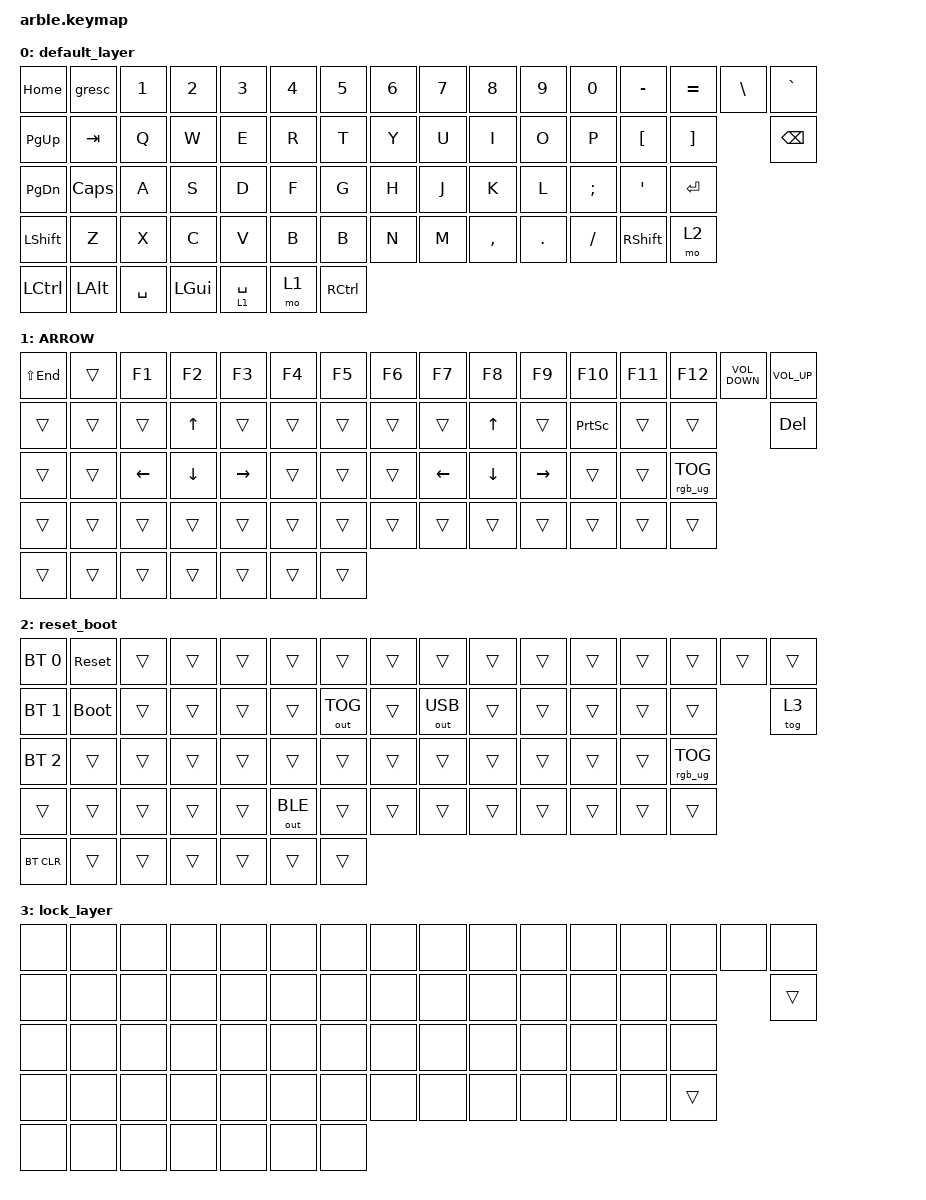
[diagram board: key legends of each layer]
/*
 * Copyright (c) 2021 Nick Winans
 *
 * SPDX-License-Identifier: MIT
 */

#include <behaviors.dtsi>
#include <dt-bindings/zmk/bt.h>
#include <dt-bindings/zmk/keys.h>
#include <dt-bindings/zmk/outputs.h>
#include <dt-bindings/zmk/rgb.h>

/ {
    keymap {
        compatible = "zmk,keymap";

        default_layer {
            bindings = <
        &kp HOME        &gresc     &kp N1        &kp N2       &kp N3  &kp N4     &kp N5  &kp N6  &kp N7     &kp N8   &kp N9    &kp N0  &kp MINUS  &kp EQUAL  &kp BSLH  &kp GRAVE
     &kp PAGE_UP       &kp TAB      &kp Q         &kp W        &kp E   &kp R      &kp T   &kp Y   &kp U      &kp I    &kp O     &kp P   &kp LBKT   &kp RBKT  &kp BSPC
       &kp PG_DN      &kp CAPS      &kp A         &kp S        &kp D   &kp F      &kp G   &kp H   &kp J      &kp K    &kp L  &kp SEMI    &kp SQT    &kp RET
       &kp LSHFT         &kp Z      &kp X         &kp C        &kp V   &kp B      &kp B   &kp N   &kp M  &kp COMMA  &kp DOT  &kp FSLH  &kp RSHFT      &mo 2
&kp LEFT_CONTROL  &kp LEFT_ALT  &kp SPACE  &kp LEFT_GUI  &lt 1 SPACE   &mo 1  &kp RCTRL
            >;
        };

        ARROW {
            bindings = <
&kp LS(END)  &trans    &kp F1    &kp F2     &kp F3  &kp F4  &kp F5  &kp F6    &kp F7        &kp F8     &kp F9          &kp F10  &kp F11          &kp F12  &kp C_VOLUME_DOWN  &kp C_VOL_UP
     &trans  &trans    &trans    &kp UP     &trans  &trans  &trans  &trans    &trans  &kp UP_ARROW     &trans  &kp PRINTSCREEN   &trans           &trans            &kp DEL
     &trans  &trans  &kp LEFT  &kp DOWN  &kp RIGHT  &trans  &trans  &trans  &kp LEFT      &kp DOWN  &kp RIGHT           &trans   &trans  &rgb_ug RGB_TOG
     &trans  &trans    &trans    &trans     &trans  &trans  &trans  &trans    &trans        &trans     &trans           &trans   &trans           &trans
     &trans  &trans    &trans    &trans     &trans  &trans  &trans
            >;
        };

        reset_boot {
            bindings = <
&bt BT_SEL 0   &sys_reset  &trans  &trans  &trans        &trans        &trans  &trans        &trans  &trans  &trans  &trans  &trans           &trans  &trans  &trans
&bt BT_SEL 1  &bootloader  &trans  &trans  &trans        &trans  &out OUT_TOG  &trans  &out OUT_USB  &trans  &trans  &trans  &trans           &trans  &tog 3
&bt BT_SEL 2       &trans  &trans  &trans  &trans        &trans        &trans  &trans        &trans  &trans  &trans  &trans  &trans  &rgb_ug RGB_TOG
      &trans       &trans  &trans  &trans  &trans  &out OUT_BLE        &trans  &trans        &trans  &trans  &trans  &trans  &trans           &trans
  &bt BT_CLR       &trans  &trans  &trans  &trans        &trans        &trans
            >;
        };

        lock_layer {
            bindings = <
&none  &none  &none  &none  &none  &none  &none  &none  &none  &none  &none  &none  &none   &none   &none  &none
&none  &none  &none  &none  &none  &none  &none  &none  &none  &none  &none  &none  &none   &none  &trans
&none  &none  &none  &none  &none  &none  &none  &none  &none  &none  &none  &none  &none   &none
&none  &none  &none  &none  &none  &none  &none  &none  &none  &none  &none  &none  &none  &trans
&none  &none  &none  &none  &none  &none  &none
            >;
        };
    };
};
